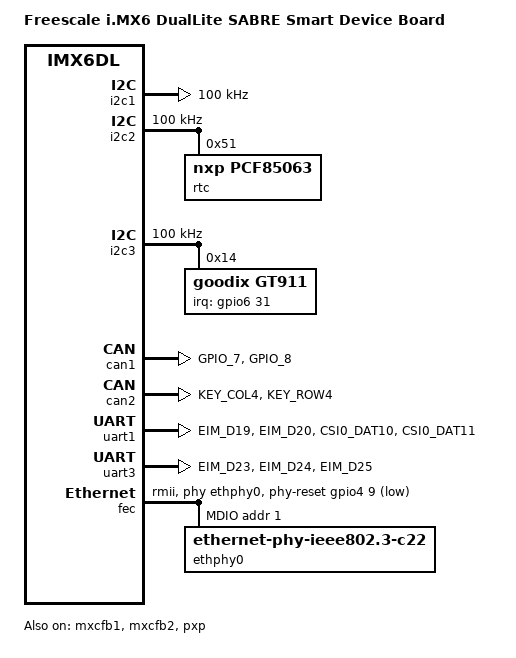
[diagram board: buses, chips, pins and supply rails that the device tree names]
/*
 * Copyright (C) 2013-2015 Freescale Semiconductor, Inc.
 *
 * This program is free software; you can redistribute it and/or modify
 * it under the terms of the GNU General Public License version 2 as
 * published by the Free Software Foundation.
 */

/dts-v1/;

#include "imx6dl.dtsi"
#include "imx6qdl-sabresd.dtsi"

/ {
	model = "Freescale i.MX6 DualLite SABRE Smart Device Board";
	compatible = "fsl,imx6dl-sabresd", "fsl,imx6dl";
};

//Removendo node de bateria

&iomuxc {
	pinctrl-names = "default";
        pinctrl-0 = <&pinctrl_hog_1>;
        imx6dl-jacto {
                //Adicionando pinos do display
                pinctrl_hog_1: hoggrp-1 {
                        fsl,pins = <
				MX6QDL_PAD_EIM_D31__USB_H1_PWR		0x80000000
				MX6QDL_PAD_KEY_ROW2__GPIO4_IO11		0x80000000
				MX6QDL_PAD_GPIO_0__GPIO1_IO00		0x80000000	//PWER_ON
				MX6QDL_PAD_GPIO_1__GPIO1_IO01		0x80000000
				MX6QDL_PAD_GPIO_2__GPIO1_IO02		0x80000000
				MX6QDL_PAD_GPIO_5__GPIO1_IO05		0x80000000
				MX6QDL_PAD_GPIO_9__GPIO1_IO09		0x80000000
				MX6QDL_PAD_GPIO_17__GPIO7_IO12		0x80000000
				MX6QDL_PAD_GPIO_18__GPIO7_IO13		0x80000000
				MX6QDL_PAD_GPIO_19__GPIO4_IO05		0x80000000
				MX6QDL_PAD_NANDF_CS0__GPIO6_IO11	0x80000000	//DISP_RST_B
				MX6QDL_PAD_NANDF_CS1__GPIO6_IO14	0x80000000	//DISP_PWR_EN
				MX6QDL_PAD_NANDF_CS2__GPIO6_IO15	0x80000000	//CABC_EN0
				MX6QDL_PAD_NANDF_CS3__GPIO6_IO16	0x80000000	//CABC_EN1
				MX6QDL_PAD_NANDF_D0__GPIO2_IO00		0x80000000	//SD3_CD
				MX6QDL_PAD_EIM_D28__GPIO3_IO28		0x80000000	//VD_nRESET
				MX6QDL_PAD_CSI0_DAT4__GPIO5_IO22	0x80000000	//CONFIG_RES
                        >;
                };

		//Adicionando configuração de pinos UART1
		pinctrl_uart1_cts: uart1grp {
                        fsl,pins = <
				MX6QDL_PAD_EIM_D19__UART1_CTS_B		0x1b0b1
				MX6QDL_PAD_EIM_D20__UART1_RTS_B		0x1b0b1
                                MX6QDL_PAD_CSI0_DAT10__UART1_TX_DATA    0x1b0b1
                                MX6QDL_PAD_CSI0_DAT11__UART1_RX_DATA    0x1b0b1
                        >;
                };

		//Adicionando configuração de pinos UART3
		pinctrl_uart3: uart3grp {
                        fsl,pins = <
				MX6QDL_PAD_EIM_D23__UART3_CTS_B		0x1b0b1
				MX6QDL_PAD_EIM_D24__UART3_TX_DATA	0x1b0b1
				MX6QDL_PAD_EIM_D25__UART3_RX_DATA	0x1b0b1
                        >;
                };

		//Adicionando configuração de pinos de CAN1
                pinctrl_flexcan1: flexcan1grp{
                        fsl,pins = <
                                MX6QDL_PAD_GPIO_7__FLEXCAN1_TX      0x1b020
                                MX6QDL_PAD_GPIO_8__FLEXCAN1_RX      0x1b020
                        >;
                };
		//Adicionando configuração de pinos de CAN2
                pinctrl_flexcan2: flexcan2grp{
                        fsl,pins = <
                                MX6QDL_PAD_KEY_COL4__FLEXCAN2_TX      0x1b020
                                MX6QDL_PAD_KEY_ROW4__FLEXCAN2_RX      0x1b020
                        >;
                };
	};
};

//Adicionando i2c1
&i2c1 {
        clock-frequency = <100000>;
        pinctrl-names = "default";
        pinctrl-0 = <&pinctrl_i2c1>;
        status = "okay";
};
//Adicionando i2c2
&i2c2 {
        clock-frequency = <100000>;
        pinctrl-names = "default";
        pinctrl-0 = <&pinctrl_i2c2>;
        status = "okay";

	rtc: pcf8506323@51 {
                compatible = "nxp,pcf85063";
                reg = <0x51>;
        };
};

//Adicionando i2c3
&i2c3 {
	clock-frequency = <100000>;
        pinctrl-names = "default";
        pinctrl-0 = <&pinctrl_i2c3>;
        status = "okay";

	//Adicionado touchscreen do display
        gt911@ba {
                        compatible = "goodix,gt911";
                        reg = <0x14>;
                        pinctrl-names = "default";
                        pinctrl-0 = <&pinctrl_i2c_goodix>;
                        interrupt-parent = <&gpio6>;
                        interrupts = <31 1>;//1 = interrupção por borda de subida
                        //O driver não usa wake e reset
                        //wakeup-gpios = <&gpio3 27 GPIO_ACTIVE_HIGH>;
                        //reset-gpios = <&gpio3 26 GPIO_ACTIVE_LOW>;
        };
};

//LVDS (ldb) habilitado
&mxcfb1 {
	status = "okay";
};

&ldb {
	lvds-channel@0 {
	        crtc = "ipu1-di0";
	};

	lvds-channel@1 {
	        crtc = "ipu1-di1";
	};
};


&mxcfb2 {
	status = "okay";
};

&pxp {
	status = "okay";
};

//Adicionando CAN1
&can1 {
        pinctrl-names = "default";
        pinctrl-0 = <&pinctrl_flexcan1>;
        status = "okay";
};
//Adicionando node CAN2
&can2 {
        pinctrl-names = "default";
        pinctrl-0 = <&pinctrl_flexcan2>;
        status = "okay";
};

//Adicionando uart1
&uart1 {
        pinctrl-names = "default";
        pinctrl-0 = <&pinctrl_uart1_cts>;
	fsl,uart-has-rtscts;
        status = "okay";
};

//Adicionando uart3
&uart3 {
        pinctrl-names = "default";
        pinctrl-0 = <&pinctrl_uart3>;
	fsl,uart-has-rtscts;
        status = "okay";
};

//Configurando Fast Ethernet Controller
&fec {
        pinctrl-names = "default";
        pinctrl-0 = <&pinctrl_enet>;
        phy-mode = "rmii";
        phy-reset-gpios = <&gpio4 9 GPIO_ACTIVE_LOW>;
        status = "okay";
	phy-handle = <&ethphy0>;

	mdio {
                #address-cells = <1>;
                #size-cells = <0>;

                ethphy0: ethernet-phy@1 {
                        compatible = "ethernet-phy-ieee802.3-c22";
                        reg = <1>;
                };
        };
};

//USDHC2 e USDHC4 já estão habilitados no dtsi
//Interface de câmera já definida no dtsi 
//Configuração de pinos I2C1, I2C2 e I2C3 estão no dtsi
